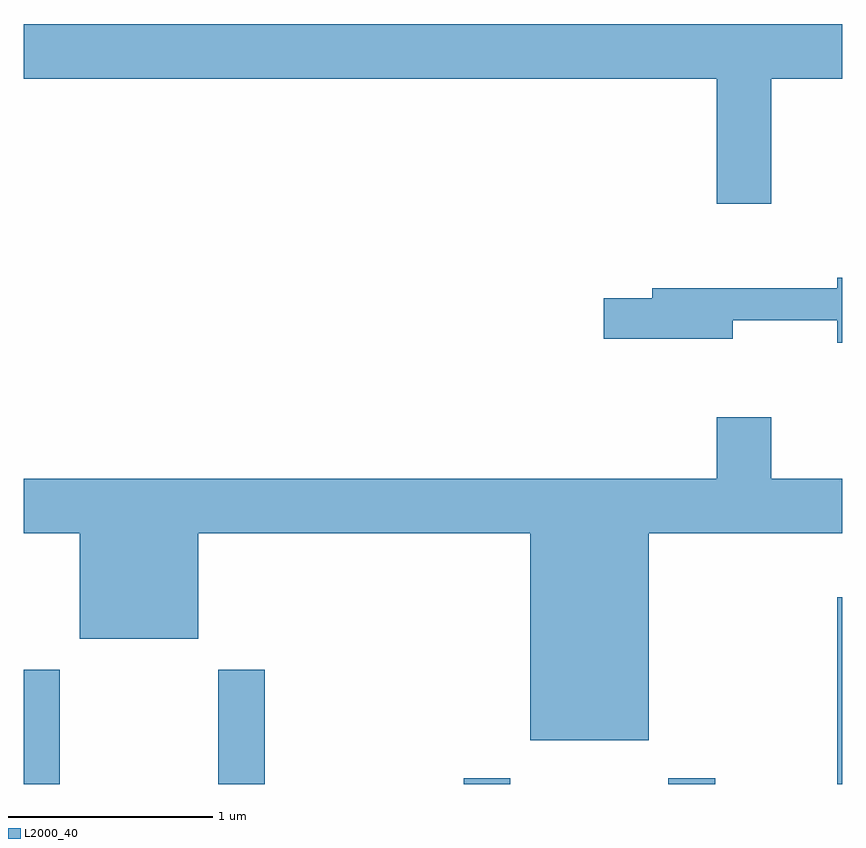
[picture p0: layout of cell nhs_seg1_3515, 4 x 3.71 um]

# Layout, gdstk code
import gdstk
lib = gdstk.Library(unit=1e-6, precision=1e-09)
def R(c, l, rs):  # rectangles x0, y0, x1, y1
    for r in rs: c.add(gdstk.rectangle(r[:2], r[2:], *l))
def P(c, l, *ps):  # polygons
    for p in ps: c.add(gdstk.Polygon(p, *l))
L2000_40 = (2000, 40)

nhs_seg1_3515 = lib.new_cell('nhs_seg1_3515')
R(nhs_seg1_3515, L2000_40, [(291.611,871.712,291.789,872.269), (292.561,871.712,292.789,872.269), (293.761,871.712,293.989,871.739), (294.761,871.712,294.989,871.739), (295.586,871.712,295.611,872.624)])
P(nhs_seg1_3515, L2000_40, [(295.264,875.156),(295.611,875.156),(295.611,875.424),(291.611,875.424),(291.611,875.156),(294.996,875.156),(294.996,874.546),(295.264,874.546)],
  [(295.611,874.184),(295.586,874.184),(295.586,874.134),(294.681,874.134),(294.681,874.084),(294.446,874.084),(294.446,873.886),(295.074,873.886),(295.074,873.976),(295.586,873.976),(295.586,873.866),(295.611,873.866)],
  [(294.664,872.936),(295.611,872.936),(295.611,873.204),(295.264,873.204),(295.264,873.504),(294.996,873.504),(294.996,873.204),(291.611,873.204),(291.611,872.936),(291.886,872.936),(291.886,872.421),(292.464,872.421),(292.464,872.936),(294.086,872.936),(294.086,871.926),(294.664,871.926)])

lib.write_gds('nhs_seg1_3515.gds')
